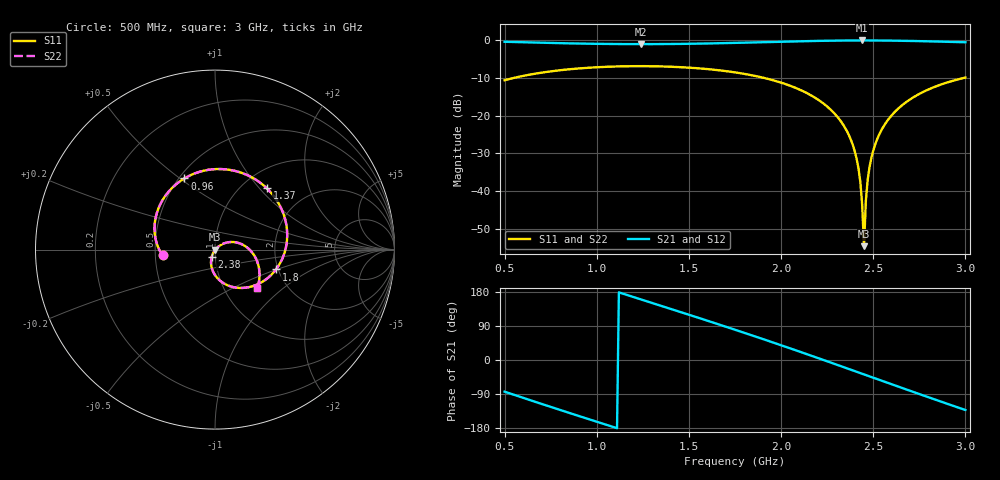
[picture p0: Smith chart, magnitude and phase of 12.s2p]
!freq-unit  param-type  data-format  keyword  impedance-ohms
# GHZ  S  RI  R  50
!Freq  ReS11  ImS11  ReS21  ImS21  ReS12  ImS12  ReS22  ImS22
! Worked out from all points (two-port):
!   251 points, 500 MHz to 3 GHz, reference 50 ohm
!   highest |S21| = -0.07 dB at 2.44 GHz (marker M1); lowest = -1.0 dB at 1.24 GHz (marker M2)
!   |S21| within 3 dB of the highest: start of sweep to end of sweep
!   lowest |S11| = -54.7 dB at 2.45 GHz (marker M3), VSWR 1.00, Z = 50.2 - j0.0743 ohm
!   |S11| at or under -10 dB: start of sweep to 550.9 MHz; 1.906 GHz to 2.993 GHz (1.087 GHz wide, 44.4 % of centre)
!   |S22| runs from -54.7 to -6.9 dB; largest |S21 - S12| = 0
!   S11 on the Smith chart (normalised r, x): 500 MHz: 0.55, -0.04; 960 MHz: 0.53, +0.52; 1.37 GHz: 1.29, +1.10; 1.8 GHz: 1.95, -0.49; 2.38 GHz: 0.96, -0.08; 3 GHz: 1.43, -0.68
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0.5  -0.2924 -0.0323  0.1061 -0.9469  0.1061 -0.9469  -0.2924 -0.0323
0.69  -0.3351 0.1512  -0.3801 -0.8448  -0.3801 -0.8448  -0.3351 0.1512
0.92  -0.2092 0.37  -0.7838 -0.444  -0.7838 -0.444  -0.2092 0.37
0.96  -0.1704 0.3966  -0.8244 -0.3549  -0.8244 -0.3549  -0.1704 0.3966
1.24  0.1555 0.425  -0.8325 0.3046  -0.8325 0.3046  0.1555 0.425
1.34  0.2614 0.3655  -0.722 0.5166  -0.722 0.5166  0.2614 0.3655
1.37  0.2888 0.3416  -0.6784 0.5741  -0.6784 0.5741  0.2888 0.3416
1.57  0.3981 0.1338  -0.2862 0.8547  -0.2862 0.8547  0.3981 0.1338
1.75  0.3684 -0.0649  0.1616 0.9065  0.1616 0.9065  0.3684 -0.0649
1.8  0.3399 -0.1106  0.2892 0.881  0.2892 0.881  0.3399 -0.1106
2.17  0.0339 -0.1779  0.9601 0.1749  0.9601 0.1749  0.0339 -0.1779
2.3  -0.0191 -0.0979  0.9656 -0.2052  0.9656 -0.2052  -0.0191 -0.0979
2.38  -0.0188 -0.0429  0.8917 -0.432  0.8917 -0.432  -0.0188 -0.0429
2.42  -0.00925 -0.0176  0.8336 -0.5371  0.8336 -0.5371  -0.00925 -0.0176
2.44  -0.00229 -0.00614  0.7996 -0.5868  0.7996 -0.5868  -0.00229 -0.00614
2.45  0.0017 -0.000741  0.7814 -0.6107  0.7814 -0.6107  0.0017 -0.000741
2.46  0.006 0.00441  0.7625 -0.6341  0.7625 -0.6341  0.006 0.00441
2.48  0.0155 0.0139  0.7225 -0.6791  0.7225 -0.6791  0.0155 0.0139
2.52  0.0378 0.0292  0.6343 -0.7607  0.6343 -0.7607  0.0378 0.0292
2.59  0.0843 0.0421  0.4584 -0.8741  0.4584 -0.8741  0.0843 0.0421
2.79  0.215 -0.027  -0.113 -0.9606  -0.113 -0.9606  0.215 -0.027
3  0.2362 -0.2144  -0.6275 -0.6976  -0.6275 -0.6976  0.2362 -0.2144
